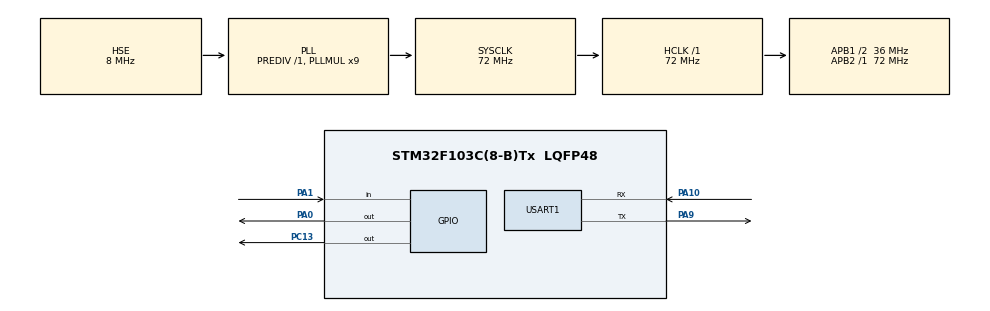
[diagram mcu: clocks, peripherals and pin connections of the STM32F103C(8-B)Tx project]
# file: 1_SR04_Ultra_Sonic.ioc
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Mcu.Family=STM32F1
RCC.PLLSourceVirtual=RCC_PLLSOURCE_HSE
PD1-OSC_OUT.Mode=HSE-External-Oscillator
PA10.Mode=Asynchronous
PC13-TAMPER-RTC.Signal=GPIO_Output
PD0-OSC_IN.Signal=RCC_OSC_IN
RCC.APB1CLKDivider=RCC_HCLK_DIV2
RCC.SYSCLKSource=RCC_SYSCLKSOURCE_PLLCLK
ProjectManager.StackSize=0x400
PA0-WKUP.Signal=GPIO_Output
PD1-OSC_OUT.Signal=RCC_OSC_OUT
PA13.Signal=SYS_JTMS-SWDIO
PA9.Mode=Asynchronous
TIM1.Prescaler=72-1
ProjectManager.TargetToolchain=STM32CubeIDE
RCC.HCLKFreq_Value=72000000
RCC.APB2TimFreq_Value=72000000
PA9.Signal=USART1_TX
RCC.USBFreq_Value=72000000
PA1.Signal=GPIO_Input
RCC.AHBFreq_Value=72000000
PD0-OSC_IN.Mode=HSE-External-Oscillator
board=custom
RCC.PLLMUL=RCC_PLL_MUL9
RCC.APB2Freq_Value=72000000
VP_TIM2_VS_ClockSourceINT.Mode=Internal
PA14.Mode=Serial_Wire
TIM2.Period=0xffff
PA13.Mode=Serial_Wire
Mcu.Name=STM32F103C(8-B)Tx
VP_TIM1_VS_ClockSourceINT.Mode=Internal
RCC.SYSCLKFreq_VALUE=72000000
Mcu.Package=LQFP48
TIM2.Prescaler=72-1
USART1.VirtualMode=VM_ASYNC
PA10.Signal=USART1_RX
PA14.Signal=SYS_JTCK-SWCLK
ProjectManager.HeapSize=0x200
NVIC.PriorityGroup=NVIC_PRIORITYGROUP_4
RCC.APB1TimFreq_Value=72000000
TIM1.Period=0xffff-1
RCC.APB1Freq_Value=36000000

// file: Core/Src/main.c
/* USER CODE BEGIN Header */
/**
  ******************************************************************************
  * @file           : main.c
  * @brief          : Main program body
  ******************************************************************************
  * @attention
  *
  * <h2><center>&copy; Copyright (c) 2021 STMicroelectronics.
  * All rights reserved.</center></h2>
  *
  * This software component is licensed by ST under BSD 3-Clause license,
  * the "License"; You may not use this file except in compliance with the
  * License. You may obtain a copy of the License at:
  *                        opensource.org/licenses/BSD-3-Clause
  *
  ******************************************************************************
  */
/* USER CODE END Header */
#include "main.h"
#include "Uart.h"

/* USER CODE BEGIN PD */
#define HC_SR04_Min 150
#define HC_SR04_Max 250000
#define HC_SR04_Timeout 38000
#define Echo_error  0

/* USER CODE END PD */

TIM_HandleTypeDef htim1;
TIM_HandleTypeDef htim2;

UART_HandleTypeDef huart1;

/* USER CODE BEGIN PV */
volatile uint32_t cnt = 0;
char buff[50];
/* USER CODE END PV */

void SystemClock_Config(void);
static void MX_GPIO_Init(void);
static void MX_TIM1_Init(void);
static void MX_TIM2_Init(void);
static void MX_USART1_UART_Init(void);

/* USER CODE BEGIN 0 */
//	if(htim ->Instance == htim2.Instance)
//		HAL_GPIO_TogglePin(GPIOA, GPIO_PIN_1);
//}
void delay_us (uint16_t us,TIM_HandleTypeDef htim)
{
	__HAL_TIM_SET_COUNTER(&htim,0);  // set the counter value a 0
	uint16_t counter = 0;
	while ((counter = __HAL_TIM_GET_COUNTER(&htim)) != us);  // wait for the counter to reach the us input in the parameter
	counter = counter;
}
void Trigger_10us()
{
	HAL_GPIO_WritePin(GPIOA, GPIO_PIN_0, GPIO_PIN_RESET);
	HAL_Delay(1);
	HAL_GPIO_WritePin(GPIOA, GPIO_PIN_0, GPIO_PIN_SET);
	delay_us(9,htim1);
	HAL_GPIO_WritePin(GPIOA, GPIO_PIN_0, GPIO_PIN_RESET);
}
uint16_t Echo_Read()
{
	while(!HAL_GPIO_ReadPin(GPIOA, GPIO_PIN_1));
	__HAL_TIM_SET_COUNTER(&htim1,0);
	while(HAL_GPIO_ReadPin(GPIOA, GPIO_PIN_1) && __HAL_TIM_GET_COUNTER(&htim1) <HC_SR04_Timeout);
	uint16_t us = __HAL_TIM_GET_COUNTER(&htim1);
	if(us<HC_SR04_Min	||	us>HC_SR04_Max ||us == HC_SR04_Timeout)
		return 0;
	else
		return us;
}
float Distance_In_Centimeter(uint16_t echo)
{
	return 0.034f*echo/2;
}

/* USER CODE END 0 */

int main(void)
{

  /* MCU Configuration------ --------------------------------------------------*/

  /* Reset of all peripherals, Initializes the Flash interface and the Systick. */
  HAL_Init();

  /* Configure the system clock */
  SystemClock_Config();

  /* Initialize all configured peripherals */
  MX_GPIO_Init();
  MX_TIM1_Init();
  MX_TIM2_Init();
  MX_USART1_UART_Init();
  /* USER CODE BEGIN 2 */
	HAL_TIM_Base_Start(&htim1);
	HAL_TIM_Base_Start_IT(&htim2);
  /* USER CODE END 2 */

  /* Infinite loop */
  while (1)
  {

    /* USER CODE BEGIN 3 */
	  Trigger_10us();
	  uint16_t pulse = Echo_Read();
	 float dis = Distance_In_Centimeter( pulse);
	 SendConstChar("Distance: ",huart1);
	// SendUnsignedNumber(4294967295,huart1);
	  SendFloat(dis,huart1);
		 SendConstChar(" cm\n",huart1);
	  HAL_Delay(1000);
  }
  /* USER CODE END 3 */
}

void SystemClock_Config(void)
{
  RCC_OscInitTypeDef RCC_OscInitStruct = {0};
  RCC_ClkInitTypeDef RCC_ClkInitStruct = {0};

  /** Initializes the RCC Oscillators according to the specified parameters
  * in the RCC_OscInitTypeDef structure.
  */
  RCC_OscInitStruct.OscillatorType = RCC_OSCILLATORTYPE_HSE;
  RCC_OscInitStruct.HSEState = RCC_HSE_ON;
  RCC_OscInitStruct.HSEPredivValue = RCC_HSE_PREDIV_DIV1;
  RCC_OscInitStruct.HSIState = RCC_HSI_ON;
  RCC_OscInitStruct.PLL.PLLState = RCC_PLL_ON;
  RCC_OscInitStruct.PLL.PLLSource = RCC_PLLSOURCE_HSE;
  RCC_OscInitStruct.PLL.PLLMUL = RCC_PLL_MUL9;
  if (HAL_RCC_OscConfig(&RCC_OscInitStruct) != HAL_OK)
  {
    Error_Handler();
  }
  /** Initializes the CPU, AHB and APB buses clocks
  */
  RCC_ClkInitStruct.ClockType = RCC_CLOCKTYPE_HCLK|RCC_CLOCKTYPE_SYSCLK
                              |RCC_CLOCKTYPE_PCLK1|RCC_CLOCKTYPE_PCLK2;
  RCC_ClkInitStruct.SYSCLKSource = RCC_SYSCLKSOURCE_PLLCLK;
  RCC_ClkInitStruct.AHBCLKDivider = RCC_SYSCLK_DIV1;
  RCC_ClkInitStruct.APB1CLKDivider = RCC_HCLK_DIV2;
  RCC_ClkInitStruct.APB2CLKDivider = RCC_HCLK_DIV1;

  if (HAL_RCC_ClockConfig(&RCC_ClkInitStruct, FLASH_LATENCY_2) != HAL_OK)
  {
    Error_Handler();
  }
}

static void MX_TIM1_Init(void)
{

  TIM_ClockConfigTypeDef sClockSourceConfig = {0};
  TIM_MasterConfigTypeDef sMasterConfig = {0};

  htim1.Instance = TIM1;
  htim1.Init.Prescaler = 72-1;
  htim1.Init.CounterMode = TIM_COUNTERMODE_UP;
  htim1.Init.Period = 0xffff-1;
  htim1.Init.ClockDivision = TIM_CLOCKDIVISION_DIV1;
  htim1.Init.RepetitionCounter = 0;
  htim1.Init.AutoReloadPreload = TIM_AUTORELOAD_PRELOAD_DISABLE;
  if (HAL_TIM_Base_Init(&htim1) != HAL_OK)
  {
    Error_Handler();
  }
  sClockSourceConfig.ClockSource = TIM_CLOCKSOURCE_INTERNAL;
  if (HAL_TIM_ConfigClockSource(&htim1, &sClockSourceConfig) != HAL_OK)
  {
    Error_Handler();
  }
  sMasterConfig.MasterOutputTrigger = TIM_TRGO_RESET;
  sMasterConfig.MasterSlaveMode = TIM_MASTERSLAVEMODE_DISABLE;
  if (HAL_TIMEx_MasterConfigSynchronization(&htim1, &sMasterConfig) != HAL_OK)
  {
    Error_Handler();
  }

}

static void MX_TIM2_Init(void)
{

  TIM_ClockConfigTypeDef sClockSourceConfig = {0};
  TIM_MasterConfigTypeDef sMasterConfig = {0};

  htim2.Instance = TIM2;
  htim2.Init.Prescaler = 72-1;
  htim2.Init.CounterMode = TIM_COUNTERMODE_UP;
  htim2.Init.Period = 0xffff;
  htim2.Init.ClockDivision = TIM_CLOCKDIVISION_DIV1;
  htim2.Init.AutoReloadPreload = TIM_AUTORELOAD_PRELOAD_DISABLE;
  if (HAL_TIM_Base_Init(&htim2) != HAL_OK)
  {
    Error_Handler();
  }
  sClockSourceConfig.ClockSource = TIM_CLOCKSOURCE_INTERNAL;
  if (HAL_TIM_ConfigClockSource(&htim2, &sClockSourceConfig) != HAL_OK)
  {
    Error_Handler();
  }
  sMasterConfig.MasterOutputTrigger = TIM_TRGO_RESET;
  sMasterConfig.MasterSlaveMode = TIM_MASTERSLAVEMODE_DISABLE;
  if (HAL_TIMEx_MasterConfigSynchronization(&htim2, &sMasterConfig) != HAL_OK)
  {
    Error_Handler();
  }

}

static void MX_USART1_UART_Init(void)
{

  huart1.Instance = USART1;
  huart1.Init.BaudRate = 115200;
  huart1.Init.WordLength = UART_WORDLENGTH_8B;
  huart1.Init.StopBits = UART_STOPBITS_1;
  huart1.Init.Parity = UART_PARITY_NONE;
  huart1.Init.Mode = UART_MODE_TX_RX;
  huart1.Init.HwFlowCtl = UART_HWCONTROL_NONE;
  huart1.Init.OverSampling = UART_OVERSAMPLING_16;
  if (HAL_UART_Init(&huart1) != HAL_OK)
  {
    Error_Handler();
  }

}

static void MX_GPIO_Init(void)
{
  GPIO_InitTypeDef GPIO_InitStruct = {0};

  /* GPIO Ports Clock Enable */
  __HAL_RCC_GPIOC_CLK_ENABLE();
  __HAL_RCC_GPIOD_CLK_ENABLE();
  __HAL_RCC_GPIOA_CLK_ENABLE();

  /*Configure GPIO pin Output Level */
  HAL_GPIO_WritePin(GPIOC, GPIO_PIN_13, GPIO_PIN_RESET);

  /*Configure GPIO pin Output Level */
  HAL_GPIO_WritePin(GPIOA, GPIO_PIN_0, GPIO_PIN_RESET);

  /*Configure GPIO pin : PC13 */
  GPIO_InitStruct.Pin = GPIO_PIN_13;
  GPIO_InitStruct.Mode = GPIO_MODE_OUTPUT_PP;
  GPIO_InitStruct.Pull = GPIO_NOPULL;
  GPIO_InitStruct.Speed = GPIO_SPEED_FREQ_LOW;
  HAL_GPIO_Init(GPIOC, &GPIO_InitStruct);

  /*Configure GPIO pin : PA0 */
  GPIO_InitStruct.Pin = GPIO_PIN_0;
  GPIO_InitStruct.Mode = GPIO_MODE_OUTPUT_PP;
  GPIO_InitStruct.Pull = GPIO_NOPULL;
  GPIO_InitStruct.Speed = GPIO_SPEED_FREQ_LOW;
  HAL_GPIO_Init(GPIOA, &GPIO_InitStruct);

  /*Configure GPIO pin : PA1 */
  GPIO_InitStruct.Pin = GPIO_PIN_1;
  GPIO_InitStruct.Mode = GPIO_MODE_INPUT;
  GPIO_InitStruct.Pull = GPIO_NOPULL;
  HAL_GPIO_Init(GPIOA, &GPIO_InitStruct);

}

void Error_Handler(void)
{
  __disable_irq();
  while (1)
  {
  }
}

/************************ (C) COPYRIGHT STMicroelectronics *****END OF FILE****/
